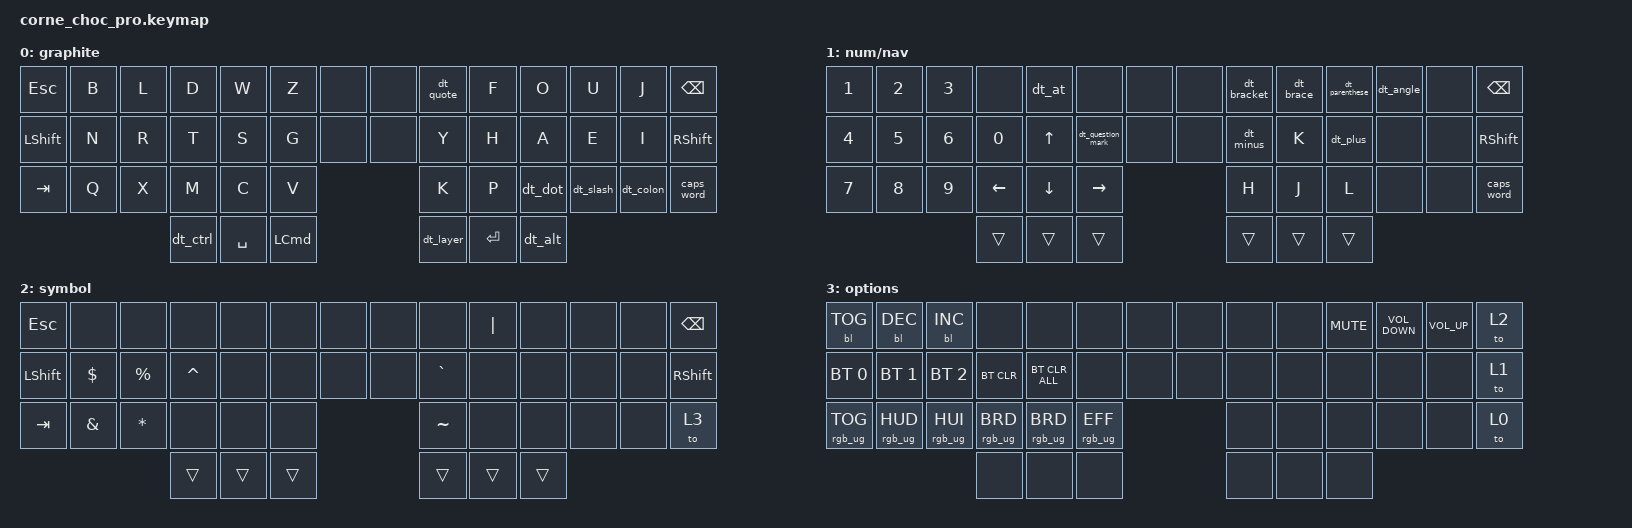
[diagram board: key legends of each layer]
/*
 * Copyright (c) 2020 The ZMK Contributors
 *
 * SPDX-License-Identifier: MIT
 */

#include <behaviors.dtsi>
#include <dt-bindings/zmk/backlight.h>
#include <dt-bindings/zmk/bt.h>
#include <dt-bindings/zmk/keys.h>
#include <dt-bindings/zmk/rgb.h>

/ {
    chosen { zmk,physical-layout = &default_layout; };
};

/ {
    combos { compatible = "zmk,combos"; };

    behaviors {
        mts: mts {
            compatible = "zmk,behavior-hold-tap";
            label = "Mod/Tap(slow)";
            bindings = <&kp>, <&kp>;

            #binding-cells = <2>;
            hold-trigger-key-positions = <28 29 14 15 1 0 2 30 16 31 17 3 4 18 33 6 20 19 5 42 40 41 43 44 45 38 39 27 13 25 26 12 24 11 10 8 9 7 21 34 22 23 35 36 37 17 18 31 32 40 3 4 5 17 18 19 31 32 33>;
            hold-trigger-on-release;
            tapping-term-ms = <300>;
        };

        dt_parenthese: dt_parenthese {
            compatible = "zmk,behavior-tap-dance";
            label = "DT_PARENTHESE";
            #binding-cells = <0>;
            bindings = <&kp LEFT_PARENTHESIS>, <&kp RIGHT_PARENTHESIS>;

            tapping-term-ms = <350>;
        };

        dt_brace: dt_brace {
            compatible = "zmk,behavior-tap-dance";
            label = "DT_BRACE";
            #binding-cells = <0>;
            bindings = <&kp LEFT_BRACE>, <&kp RIGHT_BRACE>;

            tapping-term-ms = <350>;
        };

        dt_bracket: dt_bracket {
            compatible = "zmk,behavior-tap-dance";
            label = "DT_BRACKET";
            #binding-cells = <0>;
            bindings = <&kp LEFT_BRACKET>, <&kp RIGHT_BRACKET>;

            tapping-term-ms = <350>;
        };

        dt_layer: dt_layer {
            compatible = "zmk,behavior-tap-dance";
            label = "DT_LAYER";
            #binding-cells = <0>;
            bindings = <&mo 1>, <&mo 2>;

            tapping-term-ms = <350>;
        };

        dt_angle: dt_angle {
            compatible = "zmk,behavior-tap-dance";
            label = "DT_ANGLE";
            #binding-cells = <0>;
            bindings = <&kp LESS_THAN>, <&kp GREATER_THAN>;

            tapping-term-ms = <350>;
        };

        dt_slash: dt_slash {
            compatible = "zmk,behavior-tap-dance";
            label = "DT_SLASH";
            #binding-cells = <0>;
            bindings = <&kp SLASH>, <&kp BACKSLASH>;

            tapping-term-ms = <350>;
        };

        dt_dot: dt_dot {
            compatible = "zmk,behavior-tap-dance";
            label = "DT_DOT";
            #binding-cells = <0>;
            tapping-term-ms = <350>;
            bindings = <&kp DOT>, <&kp COMMA>, <&kp SEMICOLON>;
        };

        dt_quote: dt_quote {
            compatible = "zmk,behavior-tap-dance";
            label = "DT_QUOTE";
            #binding-cells = <0>;
            bindings = <&kp SQT>, <&kp DOUBLE_QUOTES>;

            tapping-term-ms = <350>;
        };

        dt_minus: dt_minus {
            compatible = "zmk,behavior-tap-dance";
            label = "DT_MINUS";
            #binding-cells = <0>;
            tapping-term-ms = <350>;
            bindings = <&kp MINUS>, <&kp UNDERSCORE>;
        };

        dt_plus: dt_plus {
            compatible = "zmk,behavior-tap-dance";
            label = "DT_PLUS";
            #binding-cells = <0>;
            bindings = <&kp PLUS>, <&kp EQUAL>;

            tapping-term-ms = <350>;
        };

        dt_question_mark: dt_question_mark {
            compatible = "zmk,behavior-tap-dance";
            label = "DT_QUESTION_MARK";
            #binding-cells = <0>;
            tapping-term-ms = <350>;
            bindings = <&kp QUESTION>, <&kp EXCLAMATION>;
        };

        dt_colon: dt_colon {
            compatible = "zmk,behavior-tap-dance";
            label = "DT_COLON";
            #binding-cells = <0>;
            bindings = <&kp COLON>, <&kp SEMICOLON>;

            tapping-term-ms = <350>;
        };

        dt_at: dt_at {
            compatible = "zmk,behavior-tap-dance";
            label = "DT_AT";
            #binding-cells = <0>;
            bindings = <&kp AT_SIGN>, <&kp HASH>;

            tapping-term-ms = <350>;
        };

        dt_alt: dt_alt {
            compatible = "zmk,behavior-tap-dance";
            label = "DT_ALT";
            #binding-cells = <0>;
            bindings = <&kp RIGHT_ALT>, <&m_alt_space>;

            tapping-term-ms = <350>;
        };

        dt_ctrl: dt_ctrl {
            compatible = "zmk,behavior-tap-dance";
            label = "DT_CTRL";
            #binding-cells = <0>;
            bindings = <&kp LEFT_CONTROL>, <&m_ctrl_space>;
        };
    };

    macros {
        m_alt_space: m_alt_space {
            compatible = "zmk,behavior-macro";
            #binding-cells = <0>;
            bindings =
                <&macro_press>,
                <&kp RIGHT_ALT &kp SPACE>,
                <&macro_release>,
                <&kp RIGHT_ALT &kp SPACE>;

            label = "M_ALT_SPACE";
        };

        m_ctrl_space: m_ctrl_space {
            compatible = "zmk,behavior-macro";
            #binding-cells = <0>;
            bindings =
                <&macro_press>,
                <&kp LEFT_CONTROL &kp SPACE>,
                <&macro_release>;

            label = "M_CTRL_SPACE";
        };
    };

    keymap {
        compatible = "zmk,keymap";

        default_layer {
            /* display-name = "gallium"; */
            // --------------------------------------------------------------------------------
            // |  TAB |  Q  |  W  |  E  |  R  |  T  |  MUTE |  PP   |  Y  |  U   |  I  |  O  |  P  | BSPC |
            // | CTRL |  A  |  S  |  D  |  F  |  G  |  LALT |  RALT |  H  |  J   |  K  |  L  |  ;  |  '   |
            // | SHFT |  Z  |  X  |  C  |  V  |  B  |               |  N  |  M   |  ,  |  .  |  /  | ESC  |
            //                    | GUI | LWR | SPC |               | ENT | RSE  | ALT |

            bindings = <
&kp ESC         &kp B  &kp L  &kp D     &kp W      &kp Z             &none  &none  &dt_quote  &kp F      &kp O    &kp U      &kp J      &kp BSPC
&kp LEFT_SHIFT  &kp N  &kp R  &kp T     &kp S      &kp G             &none  &none  &kp Y      &kp H      &kp A    &kp E      &kp I      &kp RIGHT_SHIFT
&kp TAB         &kp Q  &kp X  &kp M     &kp C      &kp V                           &kp K      &kp P      &dt_dot  &dt_slash  &dt_colon  &caps_word
                              &dt_ctrl  &kp SPACE  &kp LEFT_COMMAND                &dt_layer  &kp ENTER  &dt_alt
            >;

            label = "graphite";
        };

        lower_layer {
            /* display-name = "NUMBER"; */
            // -----------------------------------------------------------------------------------------
            // |  TAB |  1  |  2  |  3  |  4  |  5    |  LCTRL | RCTRL |  6  |  7  |  8  |  9  |  0  | BSPC |
            // | CTRL | BT1 | BT2 | BT3 | BT4 | BT5   |  LALT  | RALT  | LFT | DWN |  UP | RGT |     |      |
            // | SHFT | BTCR| RGB | RST | BOOT| Unlock|        |       |     |     |     |     |     |      |
            //                    | GUI |     | SPC   |        | ENT   |     | ALT |

            bindings = <
&kp N1  &kp N2  &kp N3  &none     &dt_at          &none              &none  &none  &dt_bracket  &dt_brace  &dt_parenthese  &dt_angle  &none  &kp BSPC
&kp N4  &kp N5  &kp N6  &kp N0    &kp UP_ARROW    &dt_question_mark  &none  &none  &dt_minus    &kp K      &dt_plus        &none      &none  &kp RIGHT_SHIFT
&kp N7  &kp N8  &kp N9  &kp LEFT  &kp DOWN_ARROW  &kp RIGHT_ARROW                  &kp H        &kp J      &kp L           &none      &none  &caps_word
                        &trans    &trans          &trans                           &trans       &trans     &trans
            >;

            label = "num/nav";
        };

        raise_layer {
            /* display-name = "SYMBOL"; */
            // -----------------------------------------------------------------------------------------
            // |  TAB |  !  |  @  |  #  |  $  |  %  | LCTRL | RCTRL |  ^  |  &  |  *  |  (  |  )  | BSPC |
            // | CTRL |     |     |     |     |     |  LALT | RALT  |  -  |  =  |  [  |  ]  |  \  |  `   |
            // | SHFT |     |     |     |     |     |               |  _  |  +  |  {  |  }  | "|" |  ~   |
            //                    | GUI |     | SPC |               | ENT |     | ALT |

            bindings = <
&kp ESCAPE      &none          &none         &none      &none   &none   &none  &none  &none      &kp PIPE  &none   &none  &none  &kp BSPC
&kp LEFT_SHIFT  &kp DOLLAR     &kp PERCENT   &kp CARET  &none   &none   &none  &none  &kp GRAVE  &none     &none   &none  &none  &kp RIGHT_SHIFT
&kp TAB         &kp AMPERSAND  &kp ASTERISK  &none      &none   &none                 &kp TILDE  &none     &none   &none  &none  &to 3
                                             &trans     &trans  &trans                &trans     &trans    &trans
            >;

            label = "symbol";
        };

        extra_layer_2 {
            /* display-name = "EXTRA 2"; */

            bindings = <
&bl BL_TOG       &bl BL_DEC       &bl BL_INC       &none            &none            &none            &none  &none  &none  &none  &kp K_MUTE  &kp C_VOLUME_DOWN  &kp C_VOLUME_UP  &to 2
&bt BT_SEL 0     &bt BT_SEL 1     &bt BT_SEL 2     &bt BT_CLR       &bt BT_CLR_ALL   &none            &none  &none  &none  &none  &none       &none              &none            &to 1
&rgb_ug RGB_TOG  &rgb_ug RGB_HUD  &rgb_ug RGB_HUI  &rgb_ug RGB_BRD  &rgb_ug RGB_BRD  &rgb_ug RGB_EFF                &none  &none  &none       &none              &none            &to 0
                                                   &none            &none            &none                          &none  &none  &none
            >;

            label = "options";
        };
    };
};
